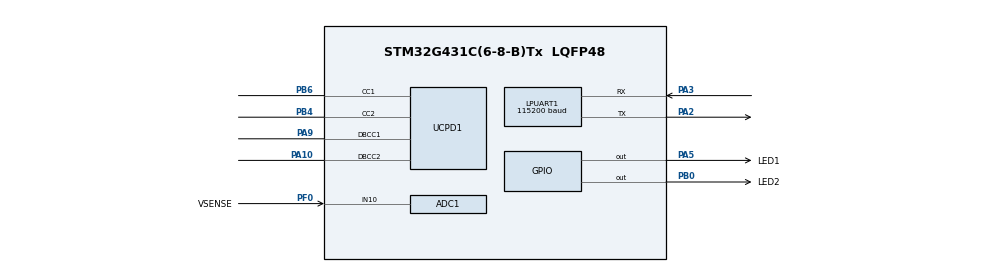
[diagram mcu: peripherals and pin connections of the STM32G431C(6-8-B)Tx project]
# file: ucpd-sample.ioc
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ADC1.Channel-0\#ChannelRegularConversion=ADC_CHANNEL_10
ADC1.ClockPrescaler=ADC_CLOCK_SYNC_PCLK_DIV4
ADC1.ContinuousConvMode=ENABLE
ADC1.NbrOfConversionFlag=1
ADC1.OffsetNumber-0\#ChannelRegularConversion=ADC_OFFSET_NONE
ADC1.Overrun=ADC_OVR_DATA_OVERWRITTEN
ADC1.Rank-0\#ChannelRegularConversion=1
ADC1.SamplingTime-0\#ChannelRegularConversion=ADC_SAMPLETIME_247CYCLES_5
ADC1.master=1
Dma.Request0=UCPD1_RX
Dma.Request1=UCPD1_TX
Dma.UCPD1_RX.0.Direction=DMA_PERIPH_TO_MEMORY
Dma.UCPD1_RX.0.EventEnable=DISABLE
Dma.UCPD1_RX.0.Instance=DMA1_Channel1
Dma.UCPD1_RX.0.MemDataAlignment=DMA_MDATAALIGN_BYTE
Dma.UCPD1_RX.0.MemInc=DMA_MINC_ENABLE
Dma.UCPD1_RX.0.Mode=DMA_NORMAL
Dma.UCPD1_RX.0.PeriphDataAlignment=DMA_PDATAALIGN_BYTE
Dma.UCPD1_RX.0.PeriphInc=DMA_PINC_DISABLE
Dma.UCPD1_RX.0.Polarity=HAL_DMAMUX_REQ_GEN_RISING
Dma.UCPD1_RX.0.Priority=DMA_PRIORITY_HIGH
Dma.UCPD1_RX.0.RequestNumber=1
Dma.UCPD1_RX.0.SignalID=NONE
Dma.UCPD1_RX.0.SyncEnable=DISABLE
Dma.UCPD1_RX.0.SyncPolarity=HAL_DMAMUX_SYNC_NO_EVENT
Dma.UCPD1_RX.0.SyncRequestNumber=1
Dma.UCPD1_RX.0.SyncSignalID=NONE
Dma.UCPD1_TX.1.Direction=DMA_MEMORY_TO_PERIPH
Dma.UCPD1_TX.1.EventEnable=DISABLE
Dma.UCPD1_TX.1.Instance=DMA1_Channel2
Dma.UCPD1_TX.1.MemDataAlignment=DMA_MDATAALIGN_BYTE
Dma.UCPD1_TX.1.MemInc=DMA_MINC_ENABLE
Dma.UCPD1_TX.1.Mode=DMA_NORMAL
Dma.UCPD1_TX.1.PeriphDataAlignment=DMA_PDATAALIGN_BYTE
Dma.UCPD1_TX.1.PeriphInc=DMA_PINC_DISABLE
Dma.UCPD1_TX.1.Polarity=HAL_DMAMUX_REQ_GEN_RISING
Dma.UCPD1_TX.1.Priority=DMA_PRIORITY_HIGH
Dma.UCPD1_TX.1.RequestNumber=1
Dma.UCPD1_TX.1.SignalID=NONE
Dma.UCPD1_TX.1.SyncEnable=DISABLE
Dma.UCPD1_TX.1.SyncPolarity=HAL_DMAMUX_SYNC_NO_EVENT
Dma.UCPD1_TX.1.SyncRequestNumber=1
Dma.UCPD1_TX.1.SyncSignalID=NONE
FREERTOS.Tasks01=defaultTask,24,128,StartDefaultTask,Default,NULL,Dynamic,NULL,NULL
FREERTOS.configTOTAL_HEAP_SIZE=7000
FREERTOS.configUSE_NEWLIB_REENTRANT=0
LPUART1.BaudRate=115200
LPUART1.FIFOMode=UART_FIFOMODE_ENABLE
Mcu.Family=STM32G4
Mcu.Name=STM32G431C(6-8-B)Tx
Mcu.Package=LQFP48
Mcu.UserConstants=VDDA_APPLI,3300
NVIC.DMA1_Channel1_IRQn=true\:0\:0\:true\:false\:true\:false\:false\:true\:true
NVIC.DMA1_Channel2_IRQn=true\:5\:0\:false\:false\:true\:false\:false\:true\:true
NVIC.PriorityGroup=NVIC_PRIORITYGROUP_4
NVIC.TIM1_UP_TIM16_IRQn=true\:15\:0\:false\:false\:true\:false\:false\:true\:true
NVIC.TimeBase=TIM1_UP_TIM16_IRQn
NVIC.TimeBaseIP=TIM1
NVIC.UCPD1_IRQn=true\:5\:0\:false\:false\:true\:false\:true\:false\:false
PA10.Mode=EnableDeadBattery
PA10.Signal=UCPD1_DBCC2
PA12.Signal=USB_DP
PA13.Mode=Serial_Wire
PA13.Signal=SYS_JTMS-SWDIO
PA14.Mode=Serial_Wire
PA14.Signal=SYS_JTCK-SWCLK
PA2.Mode=Asynchronous
PA2.Signal=LPUART1_TX
PA3.Mode=Asynchronous
PA3.Signal=LPUART1_RX
PA5.GPIO_Label=LED1
PA5.PinState=GPIO_PIN_SET
PA5.Signal=GPIO_Output
PA9.Mode=EnableDeadBattery
PA9.Signal=UCPD1_DBCC1
PB0.GPIO_Label=LED2
PB0.PinState=GPIO_PIN_SET
PB0.Signal=GPIO_Output
PB4.Mode=Sink_AllSignals
PB4.Signal=UCPD1_CC2
PB6.Mode=Sink_AllSignals
PB6.Signal=UCPD1_CC1
PF0-OSC_IN.GPIO_Label=VSENSE
PF0-OSC_IN.Mode=IN10-Single-Ended
PF0-OSC_IN.Signal=ADC1_IN10
ProjectManager.HeapSize=0x500
ProjectManager.StackSize=0x400
ProjectManager.TargetToolchain=CMake
RCC.AHBFreq_Value=16000000
RCC.APB1Freq_Value=16000000
RCC.APB1TimFreq_Value=16000000
RCC.APB2Freq_Value=16000000
RCC.APB2TimFreq_Value=16000000
RCC.CortexFreq_Value=16000000
RCC.EXTERNAL_CLOCK_VALUE=12288000
RCC.HCLKFreq_Value=16000000
RCC.HSE_VALUE=8000000
RCC.HSI48_VALUE=48000000
RCC.HSI_VALUE=16000000
RCC.LSE_VALUE=32768
RCC.PLLN=12
RCC.PLLQ=RCC_PLLQ_DIV4
RCC.SYSCLKFreq_VALUE=16000000
RCC.USBFreq_Value=48000000
RCC.VCOOutputFreq_Value=192000000
VP_FREERTOS_VS_CMSIS_V2.Mode=CMSIS_V2
VP_SYS_VS_DBSignals.Mode=DisableDeadBatterySignals
VP_SYS_VS_tim1.Mode=TIM1
board=custom

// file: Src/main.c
/* USER CODE BEGIN Header */
/**
 ******************************************************************************
 * @file           : main.c
 * @brief          : Main program body
 ******************************************************************************
 * @attention
 *
 * Copyright (c) 2024 STMicroelectronics.
 * All rights reserved.
 *
 * This software is licensed under terms that can be found in the LICENSE file
 * in the root directory of this software component.
 * If no LICENSE file comes with this software, it is provided AS-IS.
 *
 ******************************************************************************
 */
/* USER CODE END Header */
#include "main.h"
#include "cmsis_os.h"

/* USER CODE BEGIN Includes */
#include "stdio.h"
#include "SEGGER_RTT.h"
#include "tusb_config.h"
#include "tusb.h"
/* USER CODE END Includes */

UART_HandleTypeDef hlpuart1;

/* Definitions for defaultTask */
osThreadId_t defaultTaskHandle;
const osThreadAttr_t defaultTask_attributes = {
    .name = "defaultTask",
    .priority = (osPriority_t)osPriorityNormal,
    .stack_size = 128 * 4};

void SystemClock_Config(void);
static void MX_GPIO_Init(void);
static void MX_DMA_Init(void);
static void MX_UCPD1_Init(void);
static void MX_ADC1_Init(void);
static void MX_LPUART1_UART_Init(void);
void StartDefaultTask(void *argument);

/* USER CODE BEGIN PFP */
#define PUTCHAR_PROTOTYPE int __io_putchar(int ch)
/* USER CODE END PFP */

/* USER CODE BEGIN 0 */
PUTCHAR_PROTOTYPE
{
  HAL_UART_Transmit(&hlpuart1, (uint8_t *)&ch, 1, 0xffff);
  return ch;
}

#define VOLTAGE_MAX_MV 15000     // maximum voltage in mV
#define CURRENT_MAX_MA 500       // maximum current in mA
#define CURRENT_OPERATING_MA 100 // operating current in mA
uint32_t my_voltage = 0;
uint32_t my_current = 0;

bool tuc_pd_data_received_cb(uint8_t rhport, pd_header_t const *header, uint8_t const *dobj, uint8_t const *p_end)
{
  switch (header->msg_type)
  {

  case PD_DATA_SOURCE_CAP:
  {
    TU_LOG1("PD Source Capabilities\r\n");
    // Examine source capability and select a suitable PDO (starting from 1 with safe5v)
    uint8_t selected_pos = 1;

    for (size_t i = 0; i < header->n_data_obj; i++)
    {
      TU_VERIFY(dobj < p_end);
      uint32_t const pdo = tu_le32toh(tu_unaligned_read32(dobj));

      switch ((pdo >> 30) & 0x03ul)
      {
      case PD_PDO_TYPE_FIXED:
      {

        pd_pdo_fixed_t const *fixed = (pd_pdo_fixed_t const *)&pdo;
        uint32_t const voltage_mv = fixed->voltage_50mv * 50;
        uint32_t const current_ma = fixed->current_max_10ma * 10;
        TU_LOG1("[Fixed] %" PRIu32 " mV %" PRIu32 " mA\r\n", voltage_mv, current_ma);

        if (voltage_mv <= VOLTAGE_MAX_MV && current_ma >= CURRENT_MAX_MA)
        {
          // Found a suitable PDO
          my_voltage = voltage_mv;
          my_current = current_ma;
          selected_pos = i + 1;
        }
      }

      case PD_PDO_TYPE_BATTERY:
        break;

      case PD_PDO_TYPE_VARIABLE:
        break;

      case PD_PDO_TYPE_APDO:
        break;
      }

      dobj += 4;
    }

    //------------- Response with selected PDO -------------//
    // Be careful and make sure your board can withstand the selected PDO
    // voltage other than safe5v e.g 12v or 20v
    LL_GPIO_ResetOutputPin(LED1_GPIO_Port, LL_GPIO_PIN_5);
    TU_LOG1("Selected PDO %u, voltage %d current %d\r\n", selected_pos, my_voltage, my_current);
    // https://github.com/wagiminator/CH32X035-USB-PD-Tester/blob/main/software/pd_tester/src/usbpd_sink.c
    //  Send request with selected PDO position as response to Source Cap
    pd_rdo_fixed_variable_t rdo = {
        .current_extremum_10ma = (my_current / 10), // max 500mA
        .current_operate_10ma = my_current / 10,    // 300mA
        .reserved = 0,
        .epr_mode_capable = 0,
        .unchunked_ext_msg_support = 0,
        .no_usb_suspend = 0,
        .usb_comm_capable = 0,
        .capability_mismatch = 1,
        .give_back_flag = 0, // exteremum is max
        .object_position = selected_pos,
    };
    tuc_msg_request(rhport, &rdo);

    break;
  }
  case PD_DATA_VENDOR_DEFINED:
  {
    TU_LOG1("got (vendor defined)");
    break;
  }
  default:
    TU_LOG1("got PD data request no %d", header->msg_type);
    break;
  }
  TU_LOG1("here!!!");

  return true;
}

bool tuc_pd_control_received_cb(uint8_t rhport, pd_header_t const *header)
{
  (void)rhport;
  switch (header->msg_type)
  {
  case PD_CTRL_ACCEPT:
    TU_LOG1("PD Request Accepted\r\n");
    // preparing for power transition
    break;

  case PD_CTRL_REJECT:
    TU_LOG1("PD Request Rejected\r\n");
    // try to negotiate further power
    break;

  case PD_CTRL_PS_READY:
    TU_LOG1("PD Power Ready\r\n");
    // Source is ready to supply power
    break;

  default:
    TU_LOG1("CTRL REQ\r\n");

    break;
  }

  return true;
}

/* USER CODE END 0 */

int main(void)
{

  /* USER CODE BEGIN 1 */
  SEGGER_RTT_ConfigUpBuffer(0, NULL, NULL, 0, SEGGER_RTT_MODE_NO_BLOCK_SKIP);
  /* USER CODE END 1 */

  /* MCU Configuration--------------------------------------------------------*/

  /* Reset of all peripherals, Initializes the Flash interface and the Systick. */
  HAL_Init();
  SEGGER_RTT_printf(0, "RTT Hello\n");

  /* Configure the system clock */
  SystemClock_Config();

  /* Initialize all configured peripherals */
  MX_GPIO_Init();
  MX_ADC1_Init();
  MX_LPUART1_UART_Init();
  /* USER CODE BEGIN 2 */
  // SysTick->CTRL &= ~1U;
  // MX_DMA_Init();
  // MX_UCPD1_Init();
  NVIC_SetPriority(UCPD1_IRQn, NVIC_EncodePriority(NVIC_GetPriorityGrouping(), 5, 0));
  __HAL_RCC_PWR_CLK_ENABLE();
  __HAL_RCC_CRC_CLK_ENABLE();
  __HAL_RCC_UCPD1_CLK_ENABLE();
  __HAL_RCC_DMAMUX1_CLK_ENABLE();
  __HAL_RCC_DMA1_CLK_ENABLE();
  // HAL_Delay(5000);
  SEGGER_RTT_printf(0, "Delay finished\n");
  LL_GPIO_ResetOutputPin(LED2_GPIO_Port, LED2_Pin);
  if (!tuc_init(0, TUSB_TYPEC_PORT_SNK))
  {
    TU_LOG1("Failed to init tinyUSB\n");
  }
  TU_LOG1("HEllo world\n");

  /* USER CODE END 2 */

  /* Init scheduler */
  osKernelInitialize();

  /* Create the thread(s) */
  /* creation of defaultTask */
  defaultTaskHandle = osThreadNew(StartDefaultTask, NULL, &defaultTask_attributes);

  /* Start scheduler */
  osKernelStart();

  /* We should never get here as control is now taken by the scheduler */

  /* Infinite loop */
  while (1)
  {

  }
}

void SystemClock_Config(void)
{
  LL_FLASH_SetLatency(LL_FLASH_LATENCY_0);
  while (LL_FLASH_GetLatency() != LL_FLASH_LATENCY_0)
  {
  }
  LL_PWR_SetRegulVoltageScaling(LL_PWR_REGU_VOLTAGE_SCALE1);
  LL_RCC_HSI_Enable();
  /* Wait till HSI is ready */
  while (LL_RCC_HSI_IsReady() != 1)
  {
  }

  LL_RCC_HSI_SetCalibTrimming(64);
  LL_RCC_SetSysClkSource(LL_RCC_SYS_CLKSOURCE_HSI);
  /* Wait till System clock is ready */
  while (LL_RCC_GetSysClkSource() != LL_RCC_SYS_CLKSOURCE_STATUS_HSI)
  {
  }

  /* Set AHB prescaler*/
  LL_RCC_SetAHBPrescaler(LL_RCC_SYSCLK_DIV_1);
  LL_RCC_SetAPB1Prescaler(LL_RCC_APB1_DIV_1);
  LL_RCC_SetAPB2Prescaler(LL_RCC_APB2_DIV_1);
  LL_SetSystemCoreClock(16000000);

  /* Update the time base */
  if (HAL_InitTick(TICK_INT_PRIORITY) != HAL_OK)
  {
    Error_Handler();
  }
}

static void MX_ADC1_Init(void)
{

  LL_ADC_InitTypeDef ADC_InitStruct = {0};
  LL_ADC_REG_InitTypeDef ADC_REG_InitStruct = {0};
  LL_ADC_CommonInitTypeDef ADC_CommonInitStruct = {0};

  LL_GPIO_InitTypeDef GPIO_InitStruct = {0};

  LL_RCC_SetADCClockSource(LL_RCC_ADC12_CLKSOURCE_SYSCLK);

  /* Peripheral clock enable */
  LL_AHB2_GRP1_EnableClock(LL_AHB2_GRP1_PERIPH_ADC12);

  LL_AHB2_GRP1_EnableClock(LL_AHB2_GRP1_PERIPH_GPIOF);
  /**ADC1 GPIO Configuration
  PF0-OSC_IN   ------> ADC1_IN10
  */
  GPIO_InitStruct.Pin = VSENSE_Pin;
  GPIO_InitStruct.Mode = LL_GPIO_MODE_ANALOG;
  GPIO_InitStruct.Pull = LL_GPIO_PULL_NO;
  LL_GPIO_Init(VSENSE_GPIO_Port, &GPIO_InitStruct);

  /** Common config
   */
  ADC_InitStruct.Resolution = LL_ADC_RESOLUTION_12B;
  ADC_InitStruct.DataAlignment = LL_ADC_DATA_ALIGN_RIGHT;
  ADC_InitStruct.LowPowerMode = LL_ADC_LP_MODE_NONE;
  LL_ADC_Init(ADC1, &ADC_InitStruct);
  ADC_REG_InitStruct.TriggerSource = LL_ADC_REG_TRIG_SOFTWARE;
  ADC_REG_InitStruct.SequencerLength = LL_ADC_REG_SEQ_SCAN_DISABLE;
  ADC_REG_InitStruct.SequencerDiscont = LL_ADC_REG_SEQ_DISCONT_DISABLE;
  ADC_REG_InitStruct.ContinuousMode = LL_ADC_REG_CONV_CONTINUOUS;
  ADC_REG_InitStruct.DMATransfer = LL_ADC_REG_DMA_TRANSFER_NONE;
  ADC_REG_InitStruct.Overrun = LL_ADC_REG_OVR_DATA_OVERWRITTEN;
  LL_ADC_REG_Init(ADC1, &ADC_REG_InitStruct);
  LL_ADC_SetGainCompensation(ADC1, 0);
  LL_ADC_SetOverSamplingScope(ADC1, LL_ADC_OVS_DISABLE);
  ADC_CommonInitStruct.CommonClock = LL_ADC_CLOCK_SYNC_PCLK_DIV4;
  ADC_CommonInitStruct.Multimode = LL_ADC_MULTI_INDEPENDENT;
  LL_ADC_CommonInit(__LL_ADC_COMMON_INSTANCE(ADC1), &ADC_CommonInitStruct);

  /* Disable ADC deep power down (enabled by default after reset state) */
  LL_ADC_DisableDeepPowerDown(ADC1);
  /* Enable ADC internal voltage regulator */
  LL_ADC_EnableInternalRegulator(ADC1);
  /* Delay for ADC internal voltage regulator stabilization. */
  /* Compute number of CPU cycles to wait for, from delay in us. */
  /* Note: Variable divided by 2 to compensate partially */
  /* CPU processing cycles (depends on compilation optimization). */
  /* Note: If system core clock frequency is below 200kHz, wait time */
  /* is only a few CPU processing cycles. */
  uint32_t wait_loop_index;
  wait_loop_index = ((LL_ADC_DELAY_INTERNAL_REGUL_STAB_US * (SystemCoreClock / (100000 * 2))) / 10);
  while (wait_loop_index != 0)
  {
    wait_loop_index--;
  }

  /** Configure Regular Channel
   */
  LL_ADC_REG_SetSequencerRanks(ADC1, LL_ADC_REG_RANK_1, LL_ADC_CHANNEL_10);
  LL_ADC_SetChannelSamplingTime(ADC1, LL_ADC_CHANNEL_10, LL_ADC_SAMPLINGTIME_247CYCLES_5);
  LL_ADC_SetChannelSingleDiff(ADC1, LL_ADC_CHANNEL_10, LL_ADC_SINGLE_ENDED);
  /* USER CODE BEGIN ADC1_Init 2 */
  LL_ADC_StartCalibration(ADC1, LL_ADC_SINGLE_ENDED);
  LL_ADC_REG_StartConversion(ADC1);
  /* USER CODE END ADC1_Init 2 */
}

static void MX_LPUART1_UART_Init(void)
{

  hlpuart1.Instance = LPUART1;
  hlpuart1.Init.BaudRate = 115200;
  hlpuart1.Init.WordLength = UART_WORDLENGTH_8B;
  hlpuart1.Init.StopBits = UART_STOPBITS_1;
  hlpuart1.Init.Parity = UART_PARITY_NONE;
  hlpuart1.Init.Mode = UART_MODE_TX_RX;
  hlpuart1.Init.HwFlowCtl = UART_HWCONTROL_NONE;
  hlpuart1.Init.OneBitSampling = UART_ONE_BIT_SAMPLE_DISABLE;
  hlpuart1.Init.ClockPrescaler = UART_PRESCALER_DIV1;
  hlpuart1.AdvancedInit.AdvFeatureInit = UART_ADVFEATURE_NO_INIT;
  if (HAL_UART_Init(&hlpuart1) != HAL_OK)
  {
    Error_Handler();
  }
  if (HAL_UARTEx_SetTxFifoThreshold(&hlpuart1, UART_TXFIFO_THRESHOLD_1_8) != HAL_OK)
  {
    Error_Handler();
  }
  if (HAL_UARTEx_SetRxFifoThreshold(&hlpuart1, UART_RXFIFO_THRESHOLD_1_8) != HAL_OK)
  {
    Error_Handler();
  }
  if (HAL_UARTEx_EnableFifoMode(&hlpuart1) != HAL_OK)
  {
    Error_Handler();
  }
}

static void MX_UCPD1_Init(void)
{

  LL_GPIO_InitTypeDef GPIO_InitStruct = {0};

  /* Peripheral clock enable */
  LL_APB1_GRP2_EnableClock(LL_APB1_GRP2_PERIPH_UCPD1);

  LL_AHB2_GRP1_EnableClock(LL_AHB2_GRP1_PERIPH_GPIOB);
  /**UCPD1 GPIO Configuration
  PB4   ------> UCPD1_CC2
  PB6   ------> UCPD1_CC1
  */
  GPIO_InitStruct.Pin = LL_GPIO_PIN_4;
  GPIO_InitStruct.Mode = LL_GPIO_MODE_ANALOG;
  GPIO_InitStruct.Pull = LL_GPIO_PULL_NO;
  LL_GPIO_Init(GPIOB, &GPIO_InitStruct);

  GPIO_InitStruct.Pin = LL_GPIO_PIN_6;
  GPIO_InitStruct.Mode = LL_GPIO_MODE_ANALOG;
  GPIO_InitStruct.Pull = LL_GPIO_PULL_NO;
  LL_GPIO_Init(GPIOB, &GPIO_InitStruct);

  /* UCPD1 DMA Init */

  /* UCPD1_RX Init */
  LL_DMA_SetPeriphRequest(DMA1, LL_DMA_CHANNEL_1, LL_DMAMUX_REQ_UCPD1_RX);

  LL_DMA_SetDataTransferDirection(DMA1, LL_DMA_CHANNEL_1, LL_DMA_DIRECTION_PERIPH_TO_MEMORY);

  LL_DMA_SetChannelPriorityLevel(DMA1, LL_DMA_CHANNEL_1, LL_DMA_PRIORITY_HIGH);

  LL_DMA_SetMode(DMA1, LL_DMA_CHANNEL_1, LL_DMA_MODE_NORMAL);

  LL_DMA_SetPeriphIncMode(DMA1, LL_DMA_CHANNEL_1, LL_DMA_PERIPH_NOINCREMENT);

  LL_DMA_SetMemoryIncMode(DMA1, LL_DMA_CHANNEL_1, LL_DMA_MEMORY_INCREMENT);

  LL_DMA_SetPeriphSize(DMA1, LL_DMA_CHANNEL_1, LL_DMA_PDATAALIGN_BYTE);

  LL_DMA_SetMemorySize(DMA1, LL_DMA_CHANNEL_1, LL_DMA_MDATAALIGN_BYTE);

  /* UCPD1_TX Init */
  LL_DMA_SetPeriphRequest(DMA1, LL_DMA_CHANNEL_2, LL_DMAMUX_REQ_UCPD1_TX);

  LL_DMA_SetDataTransferDirection(DMA1, LL_DMA_CHANNEL_2, LL_DMA_DIRECTION_MEMORY_TO_PERIPH);

  LL_DMA_SetChannelPriorityLevel(DMA1, LL_DMA_CHANNEL_2, LL_DMA_PRIORITY_HIGH);

  LL_DMA_SetMode(DMA1, LL_DMA_CHANNEL_2, LL_DMA_MODE_NORMAL);

  LL_DMA_SetPeriphIncMode(DMA1, LL_DMA_CHANNEL_2, LL_DMA_PERIPH_NOINCREMENT);

  LL_DMA_SetMemoryIncMode(DMA1, LL_DMA_CHANNEL_2, LL_DMA_MEMORY_INCREMENT);

  LL_DMA_SetPeriphSize(DMA1, LL_DMA_CHANNEL_2, LL_DMA_PDATAALIGN_BYTE);

  LL_DMA_SetMemorySize(DMA1, LL_DMA_CHANNEL_2, LL_DMA_MDATAALIGN_BYTE);

  /* UCPD1 interrupt Init */
  NVIC_SetPriority(UCPD1_IRQn, NVIC_EncodePriority(NVIC_GetPriorityGrouping(), 5, 5));

}

static void MX_DMA_Init(void)
{

  /* DMA controller clock enable */
  __HAL_RCC_DMAMUX1_CLK_ENABLE();
  __HAL_RCC_DMA1_CLK_ENABLE();

  /* DMA interrupt init */
  /* DMA1_Channel1_IRQn interrupt configuration */
  NVIC_SetPriority(DMA1_Channel1_IRQn, NVIC_EncodePriority(NVIC_GetPriorityGrouping(), 5, 5));
  NVIC_EnableIRQ(DMA1_Channel1_IRQn);
  /* DMA1_Channel2_IRQn interrupt configuration */
  NVIC_SetPriority(DMA1_Channel2_IRQn, NVIC_EncodePriority(NVIC_GetPriorityGrouping(), 5, 5));
  NVIC_EnableIRQ(DMA1_Channel2_IRQn);
}

static void MX_GPIO_Init(void)
{
  LL_GPIO_InitTypeDef GPIO_InitStruct = {0};

  /* GPIO Ports Clock Enable */
  LL_AHB2_GRP1_EnableClock(LL_AHB2_GRP1_PERIPH_GPIOF);
  LL_AHB2_GRP1_EnableClock(LL_AHB2_GRP1_PERIPH_GPIOA);
  LL_AHB2_GRP1_EnableClock(LL_AHB2_GRP1_PERIPH_GPIOB);

  /**/
  LL_GPIO_SetOutputPin(LED1_GPIO_Port, LED1_Pin);

  /**/
  LL_GPIO_SetOutputPin(LED2_GPIO_Port, LED2_Pin);

  /**/
  GPIO_InitStruct.Pin = LED1_Pin;
  GPIO_InitStruct.Mode = LL_GPIO_MODE_OUTPUT;
  GPIO_InitStruct.Speed = LL_GPIO_SPEED_FREQ_LOW;
  GPIO_InitStruct.OutputType = LL_GPIO_OUTPUT_PUSHPULL;
  GPIO_InitStruct.Pull = LL_GPIO_PULL_NO;
  LL_GPIO_Init(LED1_GPIO_Port, &GPIO_InitStruct);

  /**/
  GPIO_InitStruct.Pin = LED2_Pin;
  GPIO_InitStruct.Mode = LL_GPIO_MODE_OUTPUT;
  GPIO_InitStruct.Speed = LL_GPIO_SPEED_FREQ_LOW;
  GPIO_InitStruct.OutputType = LL_GPIO_OUTPUT_PUSHPULL;
  GPIO_InitStruct.Pull = LL_GPIO_PULL_NO;
  LL_GPIO_Init(LED2_GPIO_Port, &GPIO_InitStruct);

}

void StartDefaultTask(void *argument)
{
  /* USER CODE BEGIN 5 */
  /* Infinite loop */
  for (;;)
  {
    tuc_task();
    osDelay(10);
  }
  /* USER CODE END 5 */
}

void HAL_TIM_PeriodElapsedCallback(TIM_HandleTypeDef *htim)
{
  if (htim->Instance == TIM1)
  {
    HAL_IncTick();
  }
}

void Error_Handler(void)
{
  __disable_irq();
  while (1)
  {
  }
}

#ifdef USE_FULL_ASSERT
/**
 * @brief  Reports the name of the source file and the source line number
 *         where the assert_param error has occurred.
 * @param  file: pointer to the source file name
 * @param  line: assert_param error line source number
 * @retval None
 */
void assert_failed(uint8_t *file, uint32_t line)
{
  /* USER CODE BEGIN 6 */
  /* User can add his own implementation to report the file name and line number,
     ex: TU_LOG1("Wrong parameters value: file %s on line %d\r\n", file, line) */
  /* USER CODE END 6 */
}
#endif /* USE_FULL_ASSERT */
